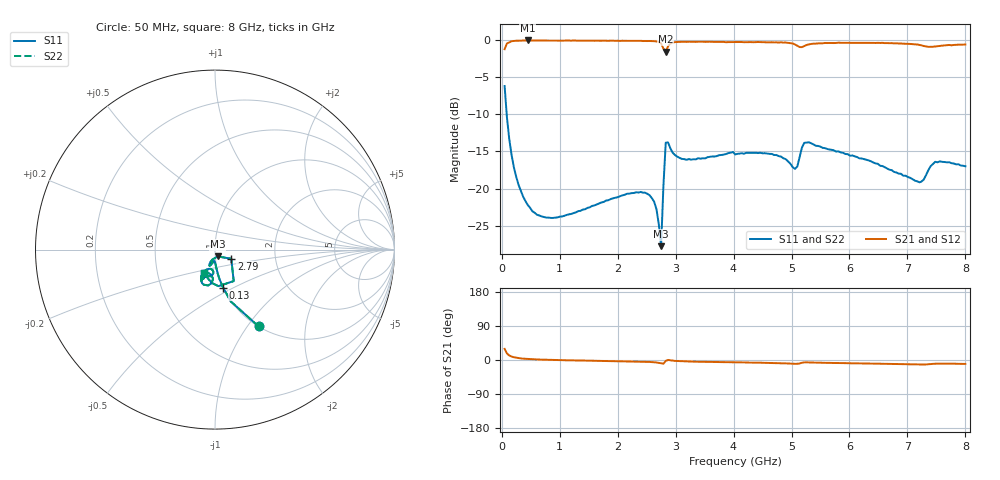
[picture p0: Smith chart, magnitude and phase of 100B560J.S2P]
!  American Technical Ceramics  Date:  3/13/98
!  One Norden Lane
!  Huntington Station,  NY.  11746-2102
!  Tel:  (516) 547-5700  Fax:  (516) 547-5748
!  Part Number  100b560j
!  Description: Porcelain, High Q, Low ESR
!  Application: Bypass, Coupling, Timing, Feedback
!  Tuning, Impedance Match, Blocking
# GHZ S DB R 50
! Freq  |S11|  S11 Ph  |S21|  S21 Ph  |S12|  S12 Ph  |S22|  S22 Ph
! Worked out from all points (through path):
!   201 points, 50 MHz to 8 GHz, reference 50 ohm
!   highest |S21| = -0.01 dB at 450 MHz (marker M1); lowest = -1.5 dB at 2.83 GHz (marker M2)
!   group delay of S21, straight-line fit = 5.3 ps
!   lowest |S11| = -27.8 dB at 2.75 GHz (marker M3), VSWR 1.09, Z = 51.3 - j3.92 ohm
!   |S11| at or under -10 dB: 86.23 MHz to end of sweep
!   |S22| runs from -27.8 to -6.2 dB; largest |S21 - S12| = 0
!   S11 on the Smith chart (normalised r, x): 50 MHz: 1.00, -1.13; 130 MHz: 1.00, -0.44; 2.79 GHz: 1.19, -0.12; 8 GHz: 0.86, -0.23
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0.05  -6.16 -60.4  -1.19 29.3  -1.19 29.3  -6.16 -60.4
0.13  -13.30 -78.0  -0.28 12.0  -0.28 12.0  -13.30 -78.0
0.25  -18.41 -84.5  -0.05 6.1  -0.05 6.1  -18.41 -84.5
0.45  -22.22 -88.7  -0.01 2.8  -0.01 2.8  -22.22 -88.7
0.77  -23.92 -92.8  -0.01 0.6  -0.01 0.6  -23.92 -92.8
1.4  -22.84 -99.9  -0.03 -1.4  -0.03 -1.4  -22.84 -99.9
2.47  -20.55 -109.5  -0.08 -4.7  -0.08 -4.7  -20.55 -109.5
2.63  -21.78 -110.8  -0.11 -6.0  -0.11 -6.0  -21.78 -110.8
2.71  -24.80 -104.7  -0.22 -7.7  -0.22 -7.7  -24.80 -104.7
2.75  -27.78 -69.1  -0.41 -9.1  -0.41 -9.1  -27.78 -69.1
2.79  -19.66 -29.4  -1.12 -9.8  -1.12 -9.8  -19.66 -29.4
2.83  -13.81 -59.3  -1.54 -2.4  -1.54 -2.4  -13.81 -59.3
2.99  -15.48 -102.6  -0.23 -2.4  -0.23 -2.4  -15.48 -102.6
4.03  -15.40 -114.0  -0.23 -6.2  -0.23 -6.2  -15.40 -114.0
4.74  -15.48 -117.2  -0.26 -8.1  -0.26 -8.1  -15.48 -117.2
5.06  -17.35 -106.5  -0.55 -10.1  -0.55 -10.1  -17.35 -106.5
5.22  -13.83 -100.8  -0.77 -6.4  -0.77 -6.4  -13.83 -100.8
5.38  -14.05 -111.7  -0.44 -6.8  -0.44 -6.8  -14.05 -111.7
6.69  -17.46 -116.2  -0.38 -10.2  -0.38 -10.2  -17.46 -116.2
7.21  -19.16 -103.3  -0.62 -11.9  -0.62 -11.9  -19.16 -103.3
7.48  -16.39 -100.3  -0.82 -9.9  -0.82 -9.9  -16.39 -100.3
8  -17.00 -114.7  -0.56 -10.4  -0.56 -10.4  -17.00 -114.7
